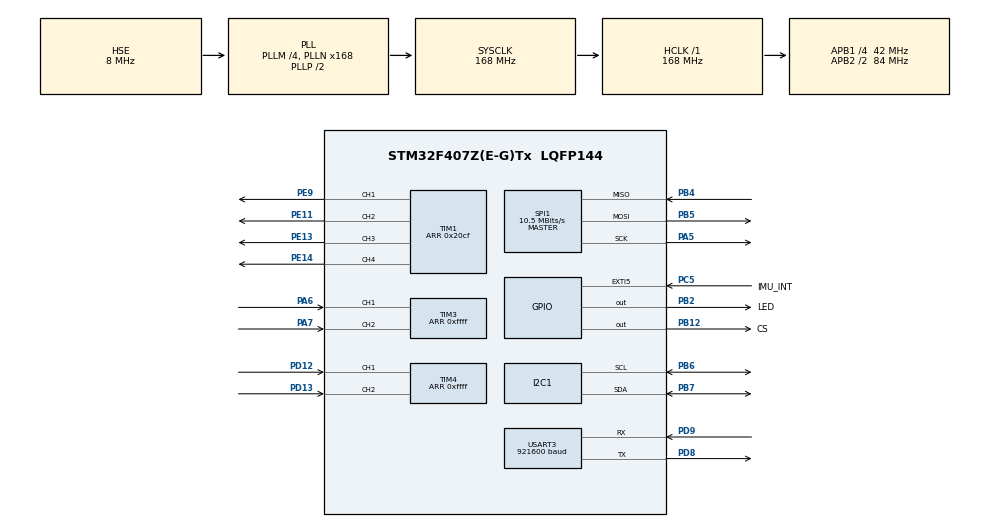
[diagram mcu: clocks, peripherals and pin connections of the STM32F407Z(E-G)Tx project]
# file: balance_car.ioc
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Dma.Request0=USART3_RX
Dma.Request1=USART3_TX
Dma.Request2=SPI1_RX
Dma.Request3=SPI1_TX
Dma.SPI1_RX.2.Direction=DMA_PERIPH_TO_MEMORY
Dma.SPI1_RX.2.FIFOMode=DMA_FIFOMODE_DISABLE
Dma.SPI1_RX.2.Instance=DMA2_Stream0
Dma.SPI1_RX.2.MemDataAlignment=DMA_MDATAALIGN_BYTE
Dma.SPI1_RX.2.MemInc=DMA_MINC_ENABLE
Dma.SPI1_RX.2.Mode=DMA_NORMAL
Dma.SPI1_RX.2.PeriphDataAlignment=DMA_PDATAALIGN_BYTE
Dma.SPI1_RX.2.PeriphInc=DMA_PINC_DISABLE
Dma.SPI1_RX.2.Priority=DMA_PRIORITY_LOW
Dma.SPI1_TX.3.Direction=DMA_MEMORY_TO_PERIPH
Dma.SPI1_TX.3.FIFOMode=DMA_FIFOMODE_DISABLE
Dma.SPI1_TX.3.Instance=DMA2_Stream3
Dma.SPI1_TX.3.MemDataAlignment=DMA_MDATAALIGN_BYTE
Dma.SPI1_TX.3.MemInc=DMA_MINC_ENABLE
Dma.SPI1_TX.3.Mode=DMA_NORMAL
Dma.SPI1_TX.3.PeriphDataAlignment=DMA_PDATAALIGN_BYTE
Dma.SPI1_TX.3.PeriphInc=DMA_PINC_DISABLE
Dma.SPI1_TX.3.Priority=DMA_PRIORITY_LOW
Dma.USART3_RX.0.Direction=DMA_PERIPH_TO_MEMORY
Dma.USART3_RX.0.FIFOMode=DMA_FIFOMODE_DISABLE
Dma.USART3_RX.0.Instance=DMA1_Stream1
Dma.USART3_RX.0.MemDataAlignment=DMA_MDATAALIGN_BYTE
Dma.USART3_RX.0.MemInc=DMA_MINC_ENABLE
Dma.USART3_RX.0.Mode=DMA_CIRCULAR
Dma.USART3_RX.0.PeriphDataAlignment=DMA_PDATAALIGN_BYTE
Dma.USART3_RX.0.PeriphInc=DMA_PINC_DISABLE
Dma.USART3_RX.0.Priority=DMA_PRIORITY_HIGH
Dma.USART3_TX.1.Direction=DMA_MEMORY_TO_PERIPH
Dma.USART3_TX.1.FIFOMode=DMA_FIFOMODE_DISABLE
Dma.USART3_TX.1.Instance=DMA1_Stream3
Dma.USART3_TX.1.MemDataAlignment=DMA_MDATAALIGN_BYTE
Dma.USART3_TX.1.MemInc=DMA_MINC_ENABLE
Dma.USART3_TX.1.Mode=DMA_NORMAL
Dma.USART3_TX.1.PeriphDataAlignment=DMA_PDATAALIGN_BYTE
Dma.USART3_TX.1.PeriphInc=DMA_PINC_DISABLE
Dma.USART3_TX.1.Priority=DMA_PRIORITY_MEDIUM
FREERTOS.Queues01=xHostCommandQueue,1,HostCommand_t,0,Dynamic,NULL,NULL
FREERTOS.Tasks01=LEDTask,8,128,LEDtask,Default,NULL,Dynamic,NULL,NULL;MainControlTask,40,512,main_control_task,Default,NULL,Dynamic,NULL,NULL;CommTask,24,512,comm_task,Default,NULL,Dynamic,NULL,NULL;OLEDDisplayTask,16,256,OLED_display_task,Default,NULL,Dynamic,NULL,NULL
I2C1.I2C_Mode=I2C_Fast
Mcu.Family=STM32F4
Mcu.Name=STM32F407Z(E-G)Tx
Mcu.Package=LQFP144
NVIC.DMA1_Stream1_IRQn=true\:5\:0\:false\:false\:true\:true\:false\:true\:true
NVIC.DMA1_Stream3_IRQn=true\:5\:0\:false\:false\:true\:true\:false\:true\:true
NVIC.DMA2_Stream0_IRQn=true\:5\:0\:false\:false\:true\:true\:false\:true\:true
NVIC.DMA2_Stream3_IRQn=true\:5\:0\:false\:false\:true\:true\:false\:true\:true
NVIC.EXTI9_5_IRQn=true\:5\:0\:false\:false\:true\:true\:true\:true\:true
NVIC.PriorityGroup=NVIC_PRIORITYGROUP_4
NVIC.SPI1_IRQn=true\:5\:0\:false\:false\:true\:true\:true\:true\:true
NVIC.TIM6_DAC_IRQn=true\:15\:0\:false\:false\:true\:false\:false\:true\:true
NVIC.TimeBase=TIM6_DAC_IRQn
NVIC.TimeBaseIP=TIM6
NVIC.USART3_IRQn=true\:5\:0\:false\:false\:true\:true\:true\:true\:true
PA13.Mode=Serial_Wire
PA13.Signal=SYS_JTMS-SWDIO
PA14.Mode=Serial_Wire
PA14.Signal=SYS_JTCK-SWCLK
PA5.Mode=Full_Duplex_Master
PA5.Signal=SPI1_SCK
PA6.Signal=S_TIM3_CH1
PA7.Signal=S_TIM3_CH2
PB12.GPIO_Label=CS
PB12.GPIO_PuPd=GPIO_NOPULL
PB12.GPIO_Speed=GPIO_SPEED_FREQ_LOW
PB12.PinState=GPIO_PIN_SET
PB12.Signal=GPIO_Output
PB2.GPIO_Label=LED
PB2.Signal=GPIO_Output
PB4.Mode=Full_Duplex_Master
PB4.Signal=SPI1_MISO
PB5.Mode=Full_Duplex_Master
PB5.Signal=SPI1_MOSI
PB6.Mode=I2C
PB6.Signal=I2C1_SCL
PB7.Mode=I2C
PB7.Signal=I2C1_SDA
PC5.GPIO_Label=IMU_INT
PC5.GPIO_PuPd=GPIO_PULLDOWN
PC5.Signal=GPXTI5
PD12.Signal=S_TIM4_CH1
PD13.Signal=S_TIM4_CH2
PD8.Mode=Asynchronous
PD8.Signal=USART3_TX
PD9.Mode=Asynchronous
PD9.Signal=USART3_RX
PE11.Signal=S_TIM1_CH2
PE13.Signal=S_TIM1_CH3
PE14.Signal=S_TIM1_CH4
PE9.Signal=S_TIM1_CH1
PH0-OSC_IN.Mode=HSE-External-Oscillator
PH0-OSC_IN.Signal=RCC_OSC_IN
PH1-OSC_OUT.Mode=HSE-External-Oscillator
PH1-OSC_OUT.Signal=RCC_OSC_OUT
ProjectManager.HeapSize=0x200
ProjectManager.StackSize=0x400
ProjectManager.TargetToolchain=CMake
RCC.48MHZClocksFreq_Value=84000000
RCC.AHBFreq_Value=168000000
RCC.APB1CLKDivider=RCC_HCLK_DIV4
RCC.APB1Freq_Value=42000000
RCC.APB1TimFreq_Value=84000000
RCC.APB2CLKDivider=RCC_HCLK_DIV2
RCC.APB2Freq_Value=84000000
RCC.APB2TimFreq_Value=168000000
RCC.CortexFreq_Value=168000000
RCC.HCLKFreq_Value=168000000
RCC.HSE_VALUE=8000000
RCC.HSI_VALUE=16000000
RCC.LSE_VALUE=32768
RCC.PLLM=4
RCC.PLLN=168
RCC.PLLSourceVirtual=RCC_PLLSOURCE_HSE
RCC.SYSCLKFreq_VALUE=168000000
RCC.SYSCLKSource=RCC_SYSCLKSOURCE_PLLCLK
RCC.VCOOutputFreq_Value=336000000
SH.S_TIM1_CH1.0=TIM1_CH1,PWM Generation1 CH1
SH.S_TIM1_CH2.0=TIM1_CH2,PWM Generation2 CH2
SH.S_TIM1_CH3.0=TIM1_CH3,PWM Generation3 CH3
SH.S_TIM1_CH4.0=TIM1_CH4,PWM Generation4 CH4
SH.S_TIM3_CH1.0=TIM3_CH1,Encoder_Interface
SH.S_TIM3_CH2.0=TIM3_CH2,Encoder_Interface
SH.S_TIM4_CH1.0=TIM4_CH1,Encoder_Interface
SH.S_TIM4_CH2.0=TIM4_CH2,Encoder_Interface
SPI1.BaudRatePrescaler=SPI_BAUDRATEPRESCALER_8
SPI1.CalculateBaudRate=10.5 MBits/s
SPI1.Direction=SPI_DIRECTION_2LINES
SPI1.Mode=SPI_MODE_MASTER
SPI1.VirtualType=VM_MASTER
TIM1.AutoReloadPreload=TIM_AUTORELOAD_PRELOAD_ENABLE
TIM1.Channel-PWM\ Generation1\ CH1=TIM_CHANNEL_1
TIM1.Channel-PWM\ Generation2\ CH2=TIM_CHANNEL_2
TIM1.Channel-PWM\ Generation3\ CH3=TIM_CHANNEL_3
TIM1.Channel-PWM\ Generation4\ CH4=TIM_CHANNEL_4
TIM1.Period=0x20cf
TIM3.EncoderMode=TIM_ENCODERMODE_TI12
TIM3.IC1Filter=6
TIM3.IC2Filter=6
TIM3.Period=0xffff
TIM4.EncoderMode=TIM_ENCODERMODE_TI12
TIM4.IC1Filter=6
TIM4.IC2Filter=6
TIM4.Period=0xffff
USART3.BaudRate=921600
USART3.VirtualMode=VM_ASYNC
VP_FREERTOS_VS_CMSIS_V2.Mode=CMSIS_V2
VP_SYS_VS_tim6.Mode=TIM6
board=custom

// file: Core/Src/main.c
/* USER CODE BEGIN Header */
/**
  ******************************************************************************
  * @file           : main.c
  * @brief          : Main program body
  ******************************************************************************
  * @attention
  *
  * Copyright (c) 2026 STMicroelectronics.
  * All rights reserved.
  *
  * This software is licensed under terms that can be found in the LICENSE file
  * in the root directory of this software component.
  * If no LICENSE file comes with this software, it is provided AS-IS.
  *
  ******************************************************************************
  */
/* USER CODE END Header */
#include "main.h"
#include "cmsis_os.h"
#include "dma.h"
#include "i2c.h"
#include "spi.h"
#include "tim.h"
#include "usart.h"
#include "gpio.h"

/* USER CODE BEGIN Includes */
#include "mydefine.h"

/* USER CODE END Includes */

void SystemClock_Config(void);
void MX_FREERTOS_Init(void);

int main(void)
{

  /* MCU Configuration--------------------------------------------------------*/

  /* Reset of all peripherals, Initializes the Flash interface and the Systick. */
  HAL_Init();

  /* Configure the system clock */
  SystemClock_Config();

  /* Initialize all configured peripherals */
  MX_GPIO_Init();
  MX_DMA_Init();
  MX_I2C1_Init();
  MX_TIM1_Init();
  MX_TIM3_Init();
  MX_TIM4_Init();
  MX_USART3_UART_Init();
  MX_SPI1_Init();
  /* USER CODE BEGIN 2 */
  // scheduler_init();
  /* USER CODE END 2 */

  /* Init scheduler */
  osKernelInitialize();  /* Call init function for freertos objects (in cmsis_os2.c) */
  MX_FREERTOS_Init();

  /* Start scheduler */
  osKernelStart();

  /* We should never get here as control is now taken by the scheduler */

  /* Infinite loop */
  /* USER CODE BEGIN WHILE */
  while (1)
  {
    // scheduler_run();
    /* USER CODE END WHILE */

  }
}

void SystemClock_Config(void)
{
  RCC_OscInitTypeDef RCC_OscInitStruct = {0};
  RCC_ClkInitTypeDef RCC_ClkInitStruct = {0};

  /** Configure the main internal regulator output voltage
  */
  __HAL_RCC_PWR_CLK_ENABLE();
  __HAL_PWR_VOLTAGESCALING_CONFIG(PWR_REGULATOR_VOLTAGE_SCALE1);

  /** Initializes the RCC Oscillators according to the specified parameters
  * in the RCC_OscInitTypeDef structure.
  */
  RCC_OscInitStruct.OscillatorType = RCC_OSCILLATORTYPE_HSE;
  RCC_OscInitStruct.HSEState = RCC_HSE_ON;
  RCC_OscInitStruct.PLL.PLLState = RCC_PLL_ON;
  RCC_OscInitStruct.PLL.PLLSource = RCC_PLLSOURCE_HSE;
  RCC_OscInitStruct.PLL.PLLM = 4;
  RCC_OscInitStruct.PLL.PLLN = 168;
  RCC_OscInitStruct.PLL.PLLP = RCC_PLLP_DIV2;
  RCC_OscInitStruct.PLL.PLLQ = 4;
  if (HAL_RCC_OscConfig(&RCC_OscInitStruct) != HAL_OK)
  {
    Error_Handler();
  }

  /** Initializes the CPU, AHB and APB buses clocks
  */
  RCC_ClkInitStruct.ClockType = RCC_CLOCKTYPE_HCLK|RCC_CLOCKTYPE_SYSCLK
                              |RCC_CLOCKTYPE_PCLK1|RCC_CLOCKTYPE_PCLK2;
  RCC_ClkInitStruct.SYSCLKSource = RCC_SYSCLKSOURCE_PLLCLK;
  RCC_ClkInitStruct.AHBCLKDivider = RCC_SYSCLK_DIV1;
  RCC_ClkInitStruct.APB1CLKDivider = RCC_HCLK_DIV4;
  RCC_ClkInitStruct.APB2CLKDivider = RCC_HCLK_DIV2;

  if (HAL_RCC_ClockConfig(&RCC_ClkInitStruct, FLASH_LATENCY_5) != HAL_OK)
  {
    Error_Handler();
  }
}

void HAL_TIM_PeriodElapsedCallback(TIM_HandleTypeDef *htim)
{
  if (htim->Instance == TIM6)
  {
    HAL_IncTick();
  }
}

void Error_Handler(void)
{
  __disable_irq();
  while (1)
  {
  }
}

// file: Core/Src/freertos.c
/* USER CODE BEGIN Header */
/**
  ******************************************************************************
  * File Name          : freertos.c
  * Description        : Code for freertos applications
  ******************************************************************************
  * @attention
  *
  * Copyright (c) 2026 STMicroelectronics.
  * All rights reserved.
  *
  * This software is licensed under terms that can be found in the LICENSE file
  * in the root directory of this software component.
  * If no LICENSE file comes with this software, it is provided AS-IS.
  *
  ******************************************************************************
  */
/* USER CODE END Header */

#include "FreeRTOS.h"
#include "task.h"
#include "main.h"
#include "cmsis_os.h"

/* USER CODE BEGIN Includes */
#include "mydefine.h"
#include "imu.h"
#include "imu/imu_filter.h"
#include "uart_echo.h"
#include "oled_ui.h"
#include "status_store.h"
#include "vofa_telemetry.h"
#include "encoder.h"
#include "comm.h"

#include <math.h>

/* USER CODE END Includes */

/* Definitions for LEDTask */
osThreadId_t LEDTaskHandle;
const osThreadAttr_t LEDTask_attributes = {
  .name = "LEDTask",
  .stack_size = 128 * 4,
  .priority = (osPriority_t) osPriorityLow,
};
/* Definitions for MainControlTask */
osThreadId_t MainControlTaskHandle;
const osThreadAttr_t MainControlTask_attributes = {
  .name = "MainControlTask",
  .stack_size = 512 * 4,
  .priority = (osPriority_t) osPriorityHigh,
};
/* Definitions for CommTask */
osThreadId_t CommTaskHandle;
const osThreadAttr_t CommTask_attributes = {
  .name = "CommTask",
  .stack_size = 512 * 4,
  .priority = (osPriority_t) osPriorityNormal,
};
/* Definitions for OLEDDisplayTask */
osThreadId_t OLEDDisplayTaskHandle;
const osThreadAttr_t OLEDDisplayTask_attributes = {
  .name = "OLEDDisplayTask",
  .stack_size = 256 * 4,
  .priority = (osPriority_t) osPriorityBelowNormal,
};
/* Definitions for xHostCommandQueue */
osMessageQueueId_t xHostCommandQueueHandle;
const osMessageQueueAttr_t xHostCommandQueue_attributes = {
  .name = "xHostCommandQueue"
};

void LEDtask(void *argument);
void main_control_task(void *argument);
void comm_task(void *argument);
void OLED_display_task(void *argument);

void MX_FREERTOS_Init(void); /* (MISRA C 2004 rule 8.1) */

void MX_FREERTOS_Init(void) {

  /* Create the queue(s) */
  /* creation of xHostCommandQueue */
  xHostCommandQueueHandle = osMessageQueueNew (1, sizeof(HostCommand_t), &xHostCommandQueue_attributes);

  /* Create the thread(s) */
  /* creation of LEDTask */
  LEDTaskHandle = osThreadNew(LEDtask, NULL, &LEDTask_attributes);

  /* creation of MainControlTask */
  MainControlTaskHandle = osThreadNew(main_control_task, NULL, &MainControlTask_attributes);

  /* creation of CommTask */
  CommTaskHandle = osThreadNew(comm_task, NULL, &CommTask_attributes);

  /* creation of OLEDDisplayTask */
  OLEDDisplayTaskHandle = osThreadNew(OLED_display_task, NULL, &OLEDDisplayTask_attributes);

}

void LEDtask(void *argument)
{
  /* USER CODE BEGIN LEDtask */
  /* Infinite loop */
  for(;;)
  {
    HAL_GPIO_TogglePin(LED_GPIO_Port,LED_Pin);
    osDelay(500);
  }
  /* USER CODE END LEDtask */
}

void main_control_task(void *argument)
{
  /* USER CODE BEGIN main_control_task */
  // 说明：本任务被设计为“事件驱动”——由 IMU 的 DRDY→SPI DMA 完成中断唤醒。
  // 这样控制计算尽量与 IMU 新数据对齐，避免固定 2ms tick 与真实采样相位漂移。
  static const float kDtS = 0.002f;
  static const float kGyroLsbPerDps = 16.4f;       // ±2000 dps
  static const float kAccelLsbPerG = 4096.0f;      // ±8 g

  // 初始化 IMU（配置寄存器 + WHO_AM_I 校验；DRDY→DMA 采样流水线在回调中运行）。
  imu_status_t imu_status = IMU_Init();

  imu_comp_filter_t pitch_filter;
  // 互补滤波权重：提高 alpha 可减少加速度噪声/振动引入的抖动，但会降低“加速度纠偏”速度。
  // 结合当前的线加速度门控（急加速/飞坡时会暂时忽略加速度角），这里取更偏向陀螺的权重。
  imu_comp_filter_cfg_t filter_cfg = {.alpha = 0.99f};
  imu_comp_filter_init(&pitch_filter, filter_cfg, 0.0f);

  // 线加速度门控（用于急加速/急刹/飞坡等场景）：
  // 当 |acc_norm - 1g| > threshold 时，在 hold_ms 内忽略加速度角，仅用陀螺积分更新。
  static const float kAccelGateThresholdG = 0.30f;
  static const uint32_t kAccelGateHoldMs = 80u;

  // 简单陀螺零偏标定：上电静止累计约 1s（500 点）求均值。
  // 建议：标定期禁止输出电机 PWM（避免车子乱动导致 bias 不准）。
  // 这里使用“在线均值”（running average）做零偏估计：标定期间也正常输出姿态用于上位机观察。
  float gx_bias = 0.0f;
  float gy_bias = 0.0f;
  float gz_bias = 0.0f;
  uint32_t calib_count = 0;
  const uint32_t calib_target = 500; // ~1s at 500Hz

  // Pitch zeroing: average the initial accel-derived pitch while the IMU is static/level,
  // then subtract it so "flat" reads ~0deg (e.g. fixes initial ~0.4deg offset).
  float pitch_zero_deg = 0.0f;
  float pitch_zero_sum = 0.0f;
  uint32_t pitch_zero_count = 0;
  const uint32_t pitch_zero_target = 200;      // ~0.4s at 500Hz
  const float pitch_zero_acc_tol_g = 0.05f;    // only accept samples when |acc_norm-1g| is small

  HostCommand_t cmd = {0};
  StatusData_t status = {0};

  // 初始化编码器模块（TIM3/TIM4 正交编码器）
  Encoder_Init(NULL);  // 使用默认配置：PPR=500, 轮径=65mm, 减速比=28
  encoder_reading_t enc_reading = {0};

  /* Infinite loop */
  for(;;)
  {
    // 等待 SPI DMA 完成回调置位的线程 flag（新一帧 IMU 数据就绪）。
    uint32_t flags = osThreadFlagsWait(IMU_THREAD_FLAG_NEW_SAMPLE, osFlagsWaitAny, 5);
    if ((flags & IMU_THREAD_FLAG_NEW_SAMPLE) == 0u) {
      // 超时：IMU 没有持续更新，进入安全状态（后续应在此处停 PWM）。
      status.fault_bits |= 0x0001u; // IMU timeout

      // 即使 IMU 超时也发布一次状态，便于上位机/VOFA+ 观测到“链路异常”。
      // pitch_deg 设为负值作为诊断：
      // - -1.0：IMU 超时但初始化成功（多半 DRDY/DMA 没跑起来）
      // - -2.0：IMU 初始化失败（多半 SPI/供电/CS/连线问题）
      status.timestamp_ms = HAL_GetTick();
      status.pitch_deg = (imu_status == IMU_OK) ? -1.0f : -2.0f;
      status.wheel_l_mps = 0.0f;
      status.wheel_r_mps = 0.0f;

      StatusStore_Write(&status);
      continue;
    }

    if (imu_status != IMU_OK) {
      status.fault_bits |= 0x0002u; // IMU init failed
      status.timestamp_ms = HAL_GetTick();
      status.pitch_deg = -2.0f;
      status.wheel_l_mps = 0.0f;
      status.wheel_r_mps = 0.0f;
      StatusStore_Write(&status);
      continue;
    }

    icm20602_raw_sample_t raw = {0};
    if (!IMU_TakeLatestRaw(&raw)) {
      // flag 可能合并（coalescing），出现“被唤醒但来不及取到新帧”的情况：直接跳过即可。
      continue;
    }

    // 原始值换算为物理单位（当前量程：±2000dps、±8g；若改了寄存器需同步修改比例）。
    float gx_dps = ((float)raw.gx) / kGyroLsbPerDps;
    float gy_dps = ((float)raw.gy) / kGyroLsbPerDps;
    float gz_dps = ((float)raw.gz) / kGyroLsbPerDps;

    float ax_g = ((float)raw.ax) / kAccelLsbPerG;
    float ay_g = ((float)raw.ay) / kAccelLsbPerG;
    float az_g = ((float)raw.az) / kAccelLsbPerG;
    float acc_norm_g = sqrtf(ax_g * ax_g + ay_g * ay_g + az_g * az_g);

    // 陀螺零偏标定（要求小车静止）。
    // 标定期间不影响遥测输出；但控制输出（PWM）应保持关闭/安全态。
    if (calib_count < calib_target) {
      calib_count++;
      float inv_n = 1.0f / (float)calib_count;
      gx_bias = gx_bias + (gx_dps - gx_bias) * inv_n;
      gy_bias = gy_bias + (gy_dps - gy_bias) * inv_n;
      gz_bias = gz_bias + (gz_dps - gz_bias) * inv_n;
    }

    // 去零偏后的陀螺（标定未完成时使用“当前估计的 bias”）。
    gx_dps -= gx_bias;
    gy_dps -= gy_bias;
    gz_dps -= gz_bias;

    // 轴向约定（按车体坐标）：pitch 轴为 Y。
    // pitch_acc：绕 Y 轴转动时，重力在 X/Z 平面内变化，因此用 ax/az 计算角度；陀螺使用 gy。
    // 约定：车体“前倾”为正。根据当前安装方向，需要对 pitch 取负以匹配该约定。
    float pitch_acc_raw_deg = -atan2f(ax_g, az_g) * (180.0f / (float)M_PI);

    // Learn the "flat" offset from accel early on (best-effort; requires the car to be still).
    if (pitch_zero_count < pitch_zero_target) {
      if (fabsf(acc_norm_g - 1.0f) < pitch_zero_acc_tol_g) {
        pitch_zero_sum += pitch_acc_raw_deg;
        pitch_zero_count++;
        pitch_zero_deg = pitch_zero_sum / (float)pitch_zero_count;
      }
    }

    float pitch_acc_deg = pitch_acc_raw_deg - pitch_zero_deg;
    float pitch_deg = imu_comp_filter_update_pitch_deg_gated(&pitch_filter,
                                                             -gy_dps,
                                                             pitch_acc_deg,
                                                             kDtS,
                                                             acc_norm_g,
                                                             kAccelGateThresholdG,
                                                             kAccelGateHoldMs,
                                                             raw.timestamp_ms);

    // 读取最新的上位机命令（队列深度=1，只保留最新目标；取不到则沿用上一次命令）。
    while (osMessageQueueGet(xHostCommandQueueHandle, &cmd, NULL, 0) == osOK) {
      // keep newest
    }

    // 编码器读取 -> 速度估计
    Encoder_Update(kDtS, &enc_reading);

    // TODO: control law -> pwm output (with safety checks)

    // 发布状态给 Comm/OLED 任务（队列深度=1：如果队列满则丢弃旧的，始终保留最新一份）。
    status.timestamp_ms = raw.timestamp_ms;
    status.pitch_deg = pitch_deg;
    status.pitch_acc_deg = pitch_acc_deg;

    // 遥测保持 IMU 物理轴：ax/ay/az 与 gx/gy/gz 不做对调，便于后续标定与轴向确认。
    status.ax_g = ax_g;
    status.ay_g = ay_g;
    status.az_g = az_g;
    status.gx_dps = gx_dps;
    status.gy_dps = gy_dps;
    status.gz_dps = gz_dps;
    status.speed_mps = enc_reading.avg_speed_mps;
    status.wheel_l_mps = enc_reading.left.speed_filtered_mps;
    status.wheel_r_mps = enc_reading.right.speed_filtered_mps;
    status.pwm_l = 0;
    status.pwm_r = 0;
    status.mode = cmd.mode;

    StatusStore_Write(&status);
  }
  /* USER CODE END main_control_task */
}

void comm_task(void *argument)
{
  /* USER CODE BEGIN comm_task */

#if (APP_UART3_ECHO_ENABLE != 0)
  // Echo 模式：PC 发什么 MCU 回什么（用于接线/串口基本链路验证）
  (void)UART_Echo_StartRxDma(&huart3);

  for(;;)
  {
    uint32_t flags = osThreadFlagsWait(UART_ECHO_FLAG_RX | UART_ECHO_FLAG_TX, osFlagsWaitAny, 20);
    if ((int32_t)flags >= 0) {
      if ((flags & (UART_ECHO_FLAG_RX | UART_ECHO_FLAG_TX)) != 0u) {
        UART_Echo_TaskPump(&huart3);
      }
    }
  }
#else
  // 协议模式：RX=comm 解析命令；TX=协议遥测（默认）或 VOFA 遥测（可选）
  static uint8_t rx_dma_buf[256];
  comm_config_t cfg = {
    .huart = &huart3,
    .cmd_queue = xHostCommandQueueHandle,
    .rx_dma_buf = rx_dma_buf,
    .rx_dma_buf_size = (uint16_t)sizeof(rx_dma_buf),
  };
  Comm_Init(&cfg);
  Comm_StartRx();

  #if (APP_UART3_TELEM_VOFA != 0)
  // VOFA 遥测：保持与旧链路一致的 50Hz 发送节拍
  const uint32_t kVofaPeriodMs = 20u;
  uint32_t next_vofa_ms = HAL_GetTick() + kVofaPeriodMs;
  #endif

  for(;;)
  {
    Comm_Poll();

  #if (APP_UART3_TELEM_PROTOCOL != 0)
    Comm_TelemetryTick();
  #endif

  #if (APP_UART3_TELEM_VOFA != 0)
    uint32_t now_ms = HAL_GetTick();
    if ((int32_t)(now_ms - next_vofa_ms) >= 0) {
      next_vofa_ms = now_ms + kVofaPeriodMs;
      StatusData_t s;
      if (StatusStore_Read(&s)) {
        (void)VOFA_SendPitch2Speed2_Dma(&huart3,
                                       s.pitch_deg,
                                       s.pitch_acc_deg,
                                       s.wheel_l_mps,
                                       s.wheel_r_mps);
      }
    }
  #endif

    osDelay(10);
  }
#endif
  /* USER CODE END comm_task */
}

void OLED_display_task(void *argument)
{
  /* USER CODE BEGIN OLED_display_task */
  OledUi_Init();

  StatusData_t last = {0};

  /* Infinite loop */
  for(;;)
  {
    (void)StatusStore_Read(&last);

    OledUi_Render(&last);
    osDelay(100);
  }
  /* USER CODE END OLED_display_task */
}
